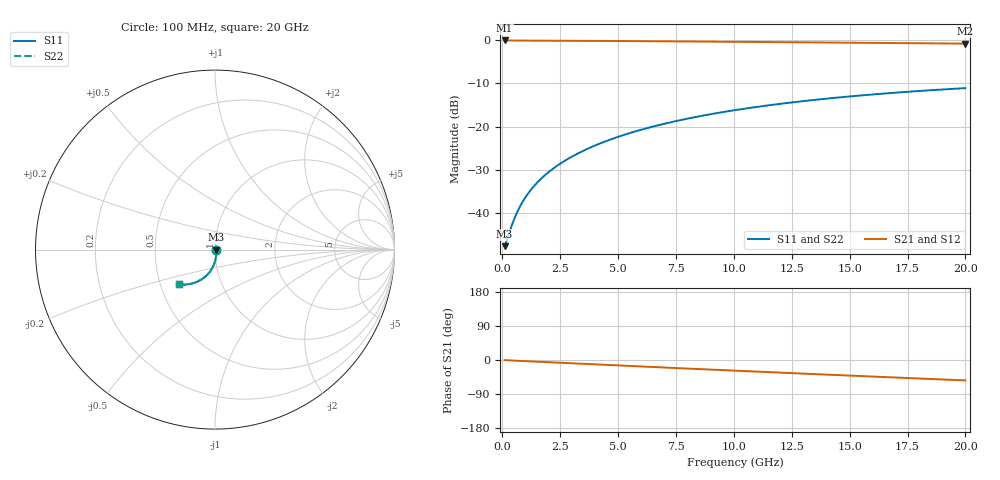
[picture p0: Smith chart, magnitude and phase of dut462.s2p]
! Touchstone file exported from HFSS 2026.1.0
!  File:  C:/ffzhzh/LocalFiles/Ansys_Project_Files/temp_train_TMRDL_462_1783006029_46388.aedt
!  Generated:  11:29:23 PM Jul  2, 2026
!  Design:  TMRDL
!  Project:  temp_train_TMRDL_462_1783006029_46388
! Variables:
!  h_bsmrdl = 2um
!  h_ox = 20um
!  h_rdl = 5um
!  h_sub = 80um
!  h_tmrdl = 4.39um
!  h_tsv = 80um
!  h_via = 3um
!  l_bsmrdl = 300um
!  l_sub = 1318.8um
!  l_tmrdl = 918.8um
!  m_sub = 200um
!  pitch = 21.55um
!  r_tsv = 6um
!  s_tmrdl = 10um
!  w_bsmrdl = 18um
!  w_sub = 500um
!  w_tmrdl = 19.73um
!  x_tsv_center1 = 928.665um
!  x_tsv_center2 = 1246.665um
!  x_tsv_center3 = 2185.195um
!  x_tsv_center4 = 2503.195um
!  x_tsv_center5 = 3441.725um
!  x_tsv_center6 = 3759.725um
# GHz S MA R 50.000000
! Terminal data exported
! Port[1] = TM_RDL1_1_T1
! Port[2] = TM_RDL1_1_T2
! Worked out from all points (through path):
!   200 points, 100 MHz to 20 GHz, reference 50 ohm
!   highest |S21| = -0.04 dB at 100 MHz (marker M1); lowest = -0.8 dB at 20 GHz (marker M2)
!   group delay of S21, straight-line fit = 7.45 ps
!   lowest |S11| = -47.7 dB at 100 MHz (marker M3), VSWR 1.01, Z = 50.4 - j0.0406 ohm
!   |S11| at or under -10 dB: start of sweep to end of sweep
!   |S22| runs from -47.7 to -11.1 dB; largest |S21 - S12| = 2.6e-14
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0.1  0.004117 -5.6  0.9959 -0.4  0.9959 -0.4  0.004117 -5.6
! Gamma 0 0 0 0
! Port Impedance 50 0 50 0
0.2  0.004861 -13.4  0.9953 -0.7  0.9953 -0.7  0.004861 -13.4
0.4  0.007056 -30.8  0.9939 -1.3  0.9939 -1.3  0.007056 -30.8
0.5  0.008317 -38.2  0.9933 -1.6  0.9933 -1.6  0.008317 -38.2
0.7  0.01098 -49.6  0.9926 -2.2  0.9926 -2.2  0.01098 -49.6
0.8  0.01236 -53.9  0.9923 -2.4  0.9923 -2.4  0.01236 -53.9
1  0.01516 -60.6  0.9918 -3.0  0.9918 -3.0  0.01516 -60.6
1.3  0.01946 -67.5  0.9912 -3.9  0.9912 -3.9  0.01946 -67.5
1.7  0.02529 -73.5  0.9904 -5.0  0.9904 -5.0  0.02529 -73.5
2.2  0.03271 -78.4  0.9894 -6.5  0.9894 -6.5  0.03271 -78.4
2.8  0.04177 -82.6  0.9879 -8.2  0.9879 -8.2  0.04177 -82.6
3.5  0.05253 -86.2  0.9859 -10.2  0.9859 -10.2  0.05253 -86.2
4.2  0.06346 -89.3  0.9838 -12.1  0.9838 -12.1  0.06347 -89.3
5  0.07611 -92.3  0.9811 -14.4  0.9811 -14.4  0.07612 -92.3
5.9  0.09044 -95.5  0.9778 -16.9  0.9778 -16.9  0.09045 -95.5
6.8  0.1048 -98.6  0.9744 -19.4  0.9744 -19.4  0.1048 -98.6
8.4  0.1299 -103.7  0.9681 -23.7  0.9681 -23.7  0.13 -103.7
10.1  0.1559 -109.0  0.9609 -28.3  0.9609 -28.3  0.1559 -108.9
11.7  0.1793 -113.7  0.9539 -32.6  0.9539 -32.6  0.1793 -113.7
13.4  0.2029 -118.6  0.9462 -37.0  0.9462 -37.0  0.2029 -118.6
16.7  0.2441 -127.7  0.9307 -45.6  0.9307 -45.6  0.2442 -127.7
20  0.279 -136.4  0.915 -53.9  0.915 -53.9  0.279 -136.3
